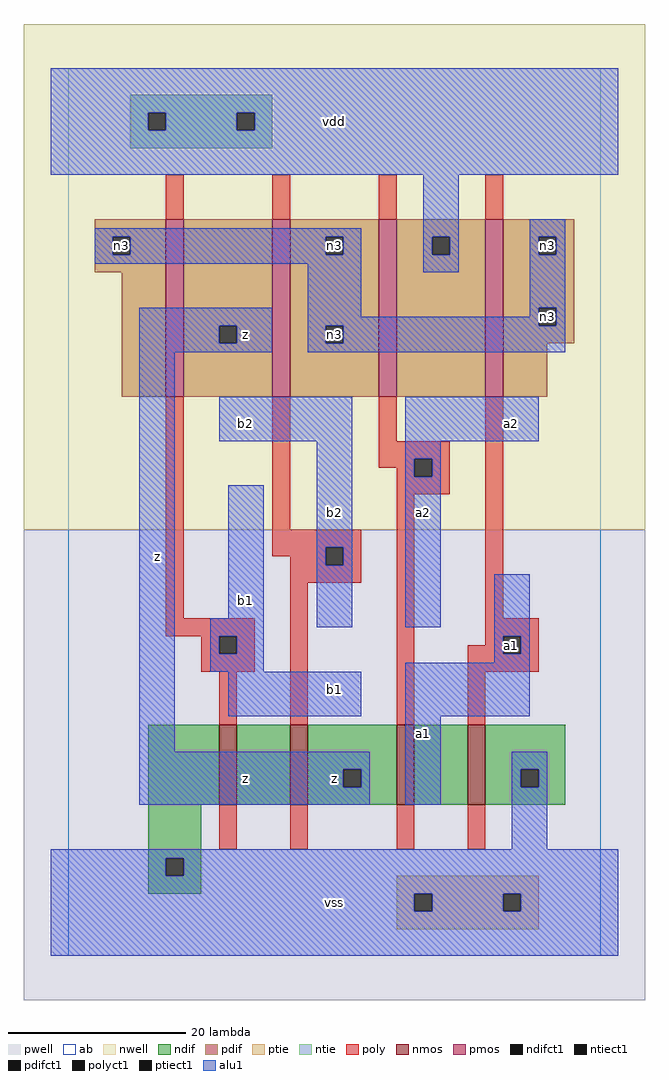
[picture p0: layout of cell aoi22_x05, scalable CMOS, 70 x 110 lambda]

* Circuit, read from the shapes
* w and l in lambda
.subckt aoi22_x05 a1 a2 b1 b2 n3 vdd vss z
M1 n1 b1 vss vss nfet w=9 l=2
M2 z b2 n1 vss nfet w=9 l=2
M3 n2 a2 z vss nfet w=9 l=2
M4 vss a1 n2 vss nfet w=9 l=2
M5 z b1 n3 vdd pfet w=20 l=2
M6 n3 b2 z vdd pfet w=20 l=2
M7 vdd a2 n3 vdd pfet w=20 l=2
M8 n3 a1 vdd vdd pfet w=20 l=2
.ends

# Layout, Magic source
magic
tech scmos
<< ab >>
rect 0 0 60 100
<< nwell >>
rect -5 48 65 105
<< pwell >>
rect -5 -5 65 48
<< poly >>
rect 11 83 13 88
rect 23 83 25 88
rect 35 83 37 88
rect 47 83 49 88
rect 11 38 13 63
rect 23 48 25 63
rect 35 58 37 63
rect 35 56 43 58
rect 35 55 39 56
rect 37 54 39 55
rect 41 54 43 56
rect 37 52 43 54
rect 23 46 33 48
rect 23 45 29 46
rect 25 44 29 45
rect 31 44 33 46
rect 25 42 33 44
rect 11 36 21 38
rect 15 34 17 36
rect 19 34 21 36
rect 15 32 21 34
rect 17 26 19 32
rect 25 26 27 42
rect 37 26 39 52
rect 47 38 49 63
rect 47 36 53 38
rect 47 35 49 36
rect 45 34 49 35
rect 51 34 53 36
rect 45 32 53 34
rect 45 26 47 32
rect 17 12 19 17
rect 25 12 27 17
rect 37 12 39 17
rect 45 12 47 17
<< ndif >>
rect 9 17 17 26
rect 19 17 25 26
rect 27 21 37 26
rect 27 19 31 21
rect 33 19 37 21
rect 27 17 37 19
rect 39 17 45 26
rect 47 21 56 26
rect 47 19 51 21
rect 53 19 56 21
rect 47 17 56 19
rect 9 11 15 17
rect 9 9 11 11
rect 13 9 15 11
rect 9 7 15 9
<< pdif >>
rect 3 81 11 83
rect 3 79 5 81
rect 7 79 11 81
rect 3 77 11 79
rect 6 63 11 77
rect 13 71 23 83
rect 13 69 17 71
rect 19 69 23 71
rect 13 63 23 69
rect 25 81 35 83
rect 25 79 29 81
rect 31 79 35 81
rect 25 71 35 79
rect 25 69 29 71
rect 31 69 35 71
rect 25 63 35 69
rect 37 81 47 83
rect 37 79 41 81
rect 43 79 47 81
rect 37 63 47 79
rect 49 81 57 83
rect 49 79 53 81
rect 55 79 57 81
rect 49 73 57 79
rect 49 71 53 73
rect 55 71 57 73
rect 49 69 57 71
rect 49 63 54 69
<< alu1 >>
rect -2 95 62 100
rect -2 93 9 95
rect 11 93 19 95
rect 21 93 62 95
rect -2 88 62 93
rect 3 81 33 82
rect 3 79 5 81
rect 7 79 29 81
rect 31 79 33 81
rect 3 78 33 79
rect 8 71 23 73
rect 8 69 17 71
rect 19 69 23 71
rect 8 68 23 69
rect 27 72 33 78
rect 40 81 44 88
rect 40 79 41 81
rect 43 79 44 81
rect 40 77 44 79
rect 52 81 56 83
rect 52 79 53 81
rect 55 79 56 81
rect 52 73 56 79
rect 52 72 53 73
rect 27 71 53 72
rect 55 71 56 73
rect 27 69 29 71
rect 31 69 56 71
rect 27 68 56 69
rect 8 23 12 68
rect 17 58 32 63
rect 18 38 22 53
rect 16 36 22 38
rect 28 46 32 58
rect 28 44 29 46
rect 31 44 32 46
rect 28 37 32 44
rect 38 58 53 63
rect 38 56 42 58
rect 38 54 39 56
rect 41 54 42 56
rect 38 37 42 54
rect 16 34 17 36
rect 19 34 22 36
rect 16 32 22 34
rect 48 36 52 43
rect 48 34 49 36
rect 51 34 52 36
rect 48 33 52 34
rect 18 27 33 32
rect 38 27 52 33
rect 8 21 34 23
rect 8 19 31 21
rect 33 19 34 21
rect 8 17 34 19
rect 38 17 42 27
rect 50 21 54 23
rect 50 19 51 21
rect 53 19 54 21
rect 50 12 54 19
rect -2 11 62 12
rect -2 9 11 11
rect 13 9 62 11
rect -2 7 62 9
rect -2 5 39 7
rect 41 5 49 7
rect 51 5 62 7
rect -2 0 62 5
<< ptie >>
rect 37 7 53 9
rect 37 5 39 7
rect 41 5 49 7
rect 51 5 53 7
rect 37 3 53 5
<< ntie >>
rect 7 95 23 97
rect 7 93 9 95
rect 11 93 19 95
rect 21 93 23 95
rect 7 91 23 93
<< nmos >>
rect 17 17 19 26
rect 25 17 27 26
rect 37 17 39 26
rect 45 17 47 26
<< pmos >>
rect 11 63 13 83
rect 23 63 25 83
rect 35 63 37 83
rect 47 63 49 83
<< polyct1 >>
rect 39 54 41 56
rect 29 44 31 46
rect 17 34 19 36
rect 49 34 51 36
<< ndifct1 >>
rect 31 19 33 21
rect 51 19 53 21
rect 11 9 13 11
<< ntiect1 >>
rect 9 93 11 95
rect 19 93 21 95
<< ptiect1 >>
rect 39 5 41 7
rect 49 5 51 7
<< pdifct1 >>
rect 5 79 7 81
rect 17 69 19 71
rect 29 79 31 81
rect 29 69 31 71
rect 41 79 43 81
rect 53 79 55 81
rect 53 71 55 73
<< labels >>
rlabel pdifct1 6 80 6 80 6 n3
rlabel pdifct1 30 80 30 80 6 n3
rlabel pdifct1 30 70 30 70 6 n3
rlabel pdifct1 54 72 54 72 6 n3
rlabel pdifct1 54 80 54 80 6 n3
rlabel alu1 10 45 10 45 6 z
rlabel alu1 20 20 20 20 6 z
rlabel alu1 20 40 20 40 6 b1
rlabel alu1 20 70 20 70 6 z
rlabel alu1 20 60 20 60 6 b2
rlabel alu1 30 20 30 20 6 z
rlabel alu1 30 6 30 6 6 vss
rlabel alu1 40 25 40 25 6 a1
rlabel alu1 30 30 30 30 6 b1
rlabel alu1 40 50 40 50 6 a2
rlabel alu1 30 50 30 50 6 b2
rlabel alu1 30 94 30 94 6 vdd
rlabel polyct1 50 35 50 35 6 a1
rlabel alu1 50 60 50 60 6 a2
<< end >>
